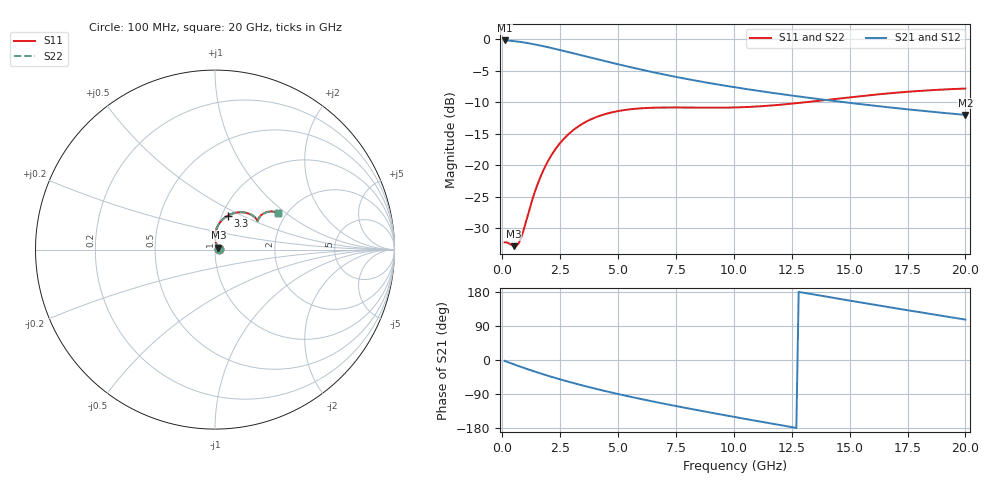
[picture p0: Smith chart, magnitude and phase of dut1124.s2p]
! Touchstone file exported from HFSS 2024.1.0
!  File:  C:/UserFiles/LocalFiles/RDL_TSV_Batchsim/temp_RDL_TSV_1124_1780107631.aedt
!  Generated:  10:30:14 AM May 30, 2026
!  Design:  RDL_TSV
!  Project:  temp_RDL_TSV_1124_1780107631
!  Setup:  Setup1
!  Solution:  Sweep
! Variables:
!  dtsv = 14.59um
!  hbump = 3um
!  htsv = 80.55um
!  ldown = 566.62um
!  lrdl = 427.14um
!  p = 40
!  p1 = 49.78um
!  rhole = 10um
!  subl = 3408.42um
!  t = 450um
!  tdown = 4.9um
!  trdl = 3.06um
!  viad = 10um
!  wdown = 13.98um
!  wrdl = 12.39um
!  xbump = 18um
# GHz S MA R 50.000000
! Terminal data exported
! Port[1] = TM1_1_T1
! Port[2] = TM1_4_T1
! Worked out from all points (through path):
!   200 points, 100 MHz to 20 GHz, reference 50 ohm
!   highest |S21| = -0.22 dB at 100 MHz (marker M1); lowest = -12.0 dB at 20 GHz (marker M2)
!   group delay of S21, straight-line fit = 33.1 ps
!   lowest |S11| = -32.9 dB at 500 MHz (marker M3), VSWR 1.05, Z = 52 + j1.21 ohm
!   |S11| at or under -10 dB: start of sweep to 13.16 GHz
!   |S22| runs from -32.9 to -7.9 dB; largest |S21 - S12| = 1.3e-14
!   S11 on the Smith chart (normalised r, x): 100 MHz: 1.05, +0.00; 3.3 GHz: 1.07, +0.42; 20 GHz: 1.80, +0.88
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0.1  0.02432 5.6  0.9751 -2.3  0.9751 -2.3  0.02431 5.6
! Gamma 0 0 0 0
! Port Impedance 50 0 50 0
0.5  0.02269 30.9  0.9634 -11.5  0.9634 -11.5  0.02269 31.0
0.7  0.0238 51.8  0.9536 -15.9  0.9536 -15.9  0.02379 51.9
0.8  0.02607 62.3  0.948 -18.1  0.948 -18.1  0.02608 62.4
1.3  0.05333 88.4  0.9148 -28.5  0.9148 -28.5  0.05341 88.5
1.5  0.06852 90.1  0.8997 -32.5  0.8997 -32.5  0.06863 90.1
2  0.1096 87.0  0.8594 -42.1  0.8594 -42.1  0.1098 87.1
2.6  0.1572 78.9  0.8096 -52.9  0.8096 -52.9  0.1576 79.0
3.3  0.2036 68.9  0.7529 -64.5  0.7529 -64.5  0.2041 69.0
3.5  0.2146 66.2  0.7372 -67.7  0.7372 -67.7  0.2152 66.3
4.2  0.2456 57.7  0.685 -78.4  0.685 -78.4  0.2462 57.7
5.1  0.2702 48.9  0.6247 -91.2  0.6247 -91.2  0.271 48.9
5.9  0.2813 42.9  0.5777 -101.8  0.5777 -101.8  0.2822 43.0
6.8  0.286 38.2  0.5319 -113.1  0.5319 -113.1  0.287 38.2
8.4  0.2854 34.1  0.4662 -132.1  0.4662 -132.1  0.2866 34.1
10.1  0.2867 34.0  0.4129 -151.1  0.4129 -151.1  0.2879 33.9
11.7  0.2978 35.5  0.3732 -168.5  0.3732 -168.5  0.2987 35.4
13.4  0.3197 36.7  0.3388 173.4  0.3388 173.4  0.3204 36.5
15.1  0.3467 36.4  0.3101 155.8  0.3101 155.8  0.347 36.2
16.7  0.371 34.9  0.2871 139.4  0.2871 139.4  0.371 34.7
18.3  0.3907 32.7  0.2676 123.4  0.2676 123.4  0.3905 32.5
20  0.4049 30.1  0.2501 106.6  0.2501 106.6  0.4045 30.0
